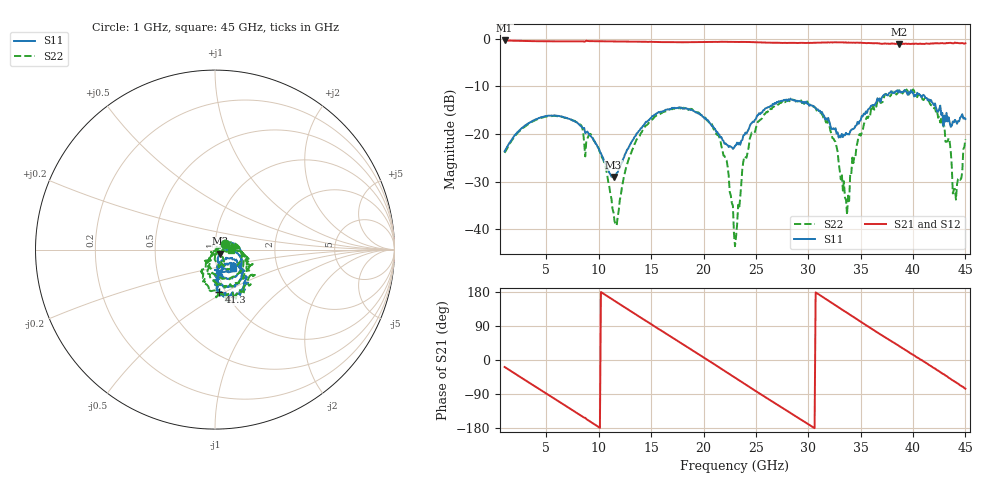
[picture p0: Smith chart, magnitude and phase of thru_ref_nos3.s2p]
!Keysight Technologies,N5247B,MY61255062,A.19.80.06
!Date: Monday, May 18, 2026 12:32:22
!Correction: S11(Cdelta 2-Port  )
!S21(Cdelta 2-Port  )
!S12(Cdelta 2-Port  )
!S22(Cdelta 2-Port  )
!S2P File: Measurements: S11, S21, S12, S22:
# Hz S  dB  R 50
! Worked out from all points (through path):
!   441 points, 1 GHz to 45 GHz, reference 50 ohm
!   highest |S21| = -0.40 dB at 1 GHz (marker M1); lowest = -1.1 dB at 38.7 GHz (marker M2)
!   group delay of S21, straight-line fit = 49 ps
!   lowest |S11| = -29.0 dB at 11.4 GHz (marker M3), VSWR 1.07, Z = 52.8 - j2.34 ohm
!   |S11| at or under -10 dB: start of sweep to end of sweep
!   |S22| runs from -43.5 to -10.4 dB; largest |S21 - S12| = 0.016
!   S11 on the Smith chart (normalised r, x): 1 GHz: 1.12, +0.07; 41.3 GHz: 0.94, -0.47; 45 GHz: 1.19, -0.25
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1e9  -23.63 27.7  -0.40 -18.4  -0.40 -18.4  -23.95 28.5
4.8e9  -16.34 -13.4  -0.57 -85.3  -0.57 -85.3  -16.44 -9.7
8.4e9  -18.64 -63.6  -0.56 -148.8  -0.56 -148.7  -18.57 -60.5
1.04e10  -25.00 -73.2  -0.56 175.7  -0.56 175.7  -25.31 -92.3
1.14e10  -29.00 -38.6  -0.59 157.9  -0.59 157.9  -36.49 -72.4
1.34e10  -20.64 -3.2  -0.65 122.6  -0.65 122.6  -22.17 20.6
1.57e10  -15.40 -27.1  -0.76 82.0  -0.76 82.0  -15.93 -13.2
2.08e10  -18.32 -82.9  -0.70 -7.2  -0.70 -7.2  -17.97 -98.5
2.22e10  -22.23 -71.1  -0.71 -32.3  -0.71 -32.3  -25.56 -122.3
2.3e10  -22.51 -51.2  -0.72 -46.5  -0.71 -46.5  -43.53 -90.4
2.39e10  -20.20 -29.9  -0.72 -62.6  -0.71 -62.6  -24.67 34.2
2.53e10  -15.66 -29.8  -0.79 -87.6  -0.80 -87.6  -17.27 3.1
3.04e10  -14.09 -81.5  -0.89 -176.3  -0.90 -176.5  -14.21 -87.8
3.26e10  -18.78 -83.9  -0.79 144.2  -0.81 144.2  -21.68 -121.0
3.37e10  -20.08 -57.3  -0.87 124.6  -0.85 124.5  -36.95 -23.3
3.54e10  -15.88 -34.0  -0.93 94.0  -0.90 93.8  -17.31 -4.3
3.77e10  -11.44 -55.0  -1.10 53.8  -1.09 53.6  -12.30 -37.4
3.87e10  -10.84 -60.8  -1.14 36.1  -1.11 36.4  -10.65 -57.0
4.13e10  -12.46 -84.2  -1.03 -8.8  -1.07 -9.1  -12.91 -99.1
4.34e10  -16.50 -74.0  -0.92 -46.7  -0.94 -46.4  -20.87 -131.9
4.4e10  -17.05 -58.4  -0.83 -57.5  -0.90 -57.4  -31.53 -141.7
4.5e10  -16.87 -47.1  -1.00 -75.8  -0.96 -75.9  -21.09 -0.3
